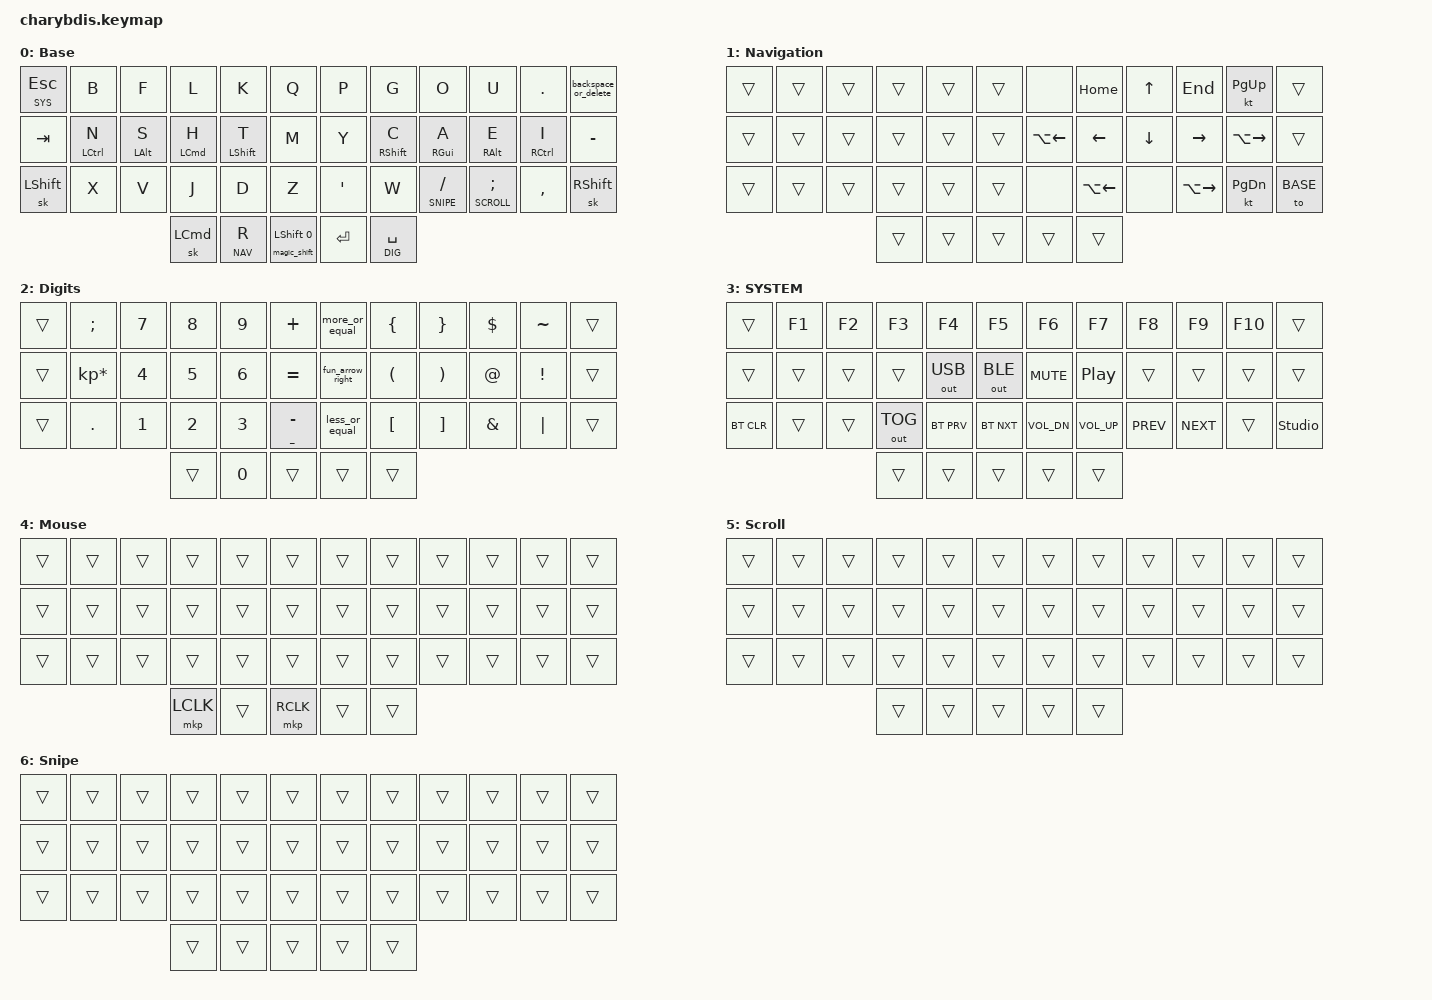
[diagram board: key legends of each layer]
#include <behaviors.dtsi>
#include <dt-bindings/zmk/bt.h>
#include <dt-bindings/zmk/keys.h>
#include <dt-bindings/zmk/mouse.h>
#include <dt-bindings/zmk/outputs.h>
#include <behaviors/mouse_keys.dtsi>
#include <dt-bindings/zmk/ext_power.h>
#include <input/processors.dtsi>
#include <dt-bindings/zmk/input_transform.h>
#include <zephyr/dt-bindings/input/input-event-codes.h>

#define QUICK_TAP_MS 175
#include "zmk-helpers/helper.h"
#include "zmk-helpers/key-labels/42.h"

#define KEYS_L 0 1 2 3 4 5 12 13 14 15 16 17 24 25 26 27 28 29 36 37 38 19 20 21 22  // Left-hand keys.
#define KEYS_R 6 7 8 9 10 11 18 19 20 21 22 23 30 31 32 33 34 35 39 40 16 15 14 13  // Right-hand keys.
#define THUMBS 36 37 38 39 40  // Thumb keys.

#define BASE 0
#define NAV  1
#define DIG  2
#define SYS  3
#define MOUSE  4
#define SCROLL 5
#define SNIPE 6

/* Left-hand HRMs. */
ZMK_HOLD_TAP(hm_left,
    flavor = "tap-preferred";
    tapping-term-ms = <400>;
    quick-tap-ms = <175>;
    require-prior-idle-ms = <150>;
    bindings = <&kp>, <&kp>;
    hold-trigger-key-positions = <KEYS_R THUMBS>;
    hold-trigger-on-release;
)

/* Right-hand HRMs. */
ZMK_HOLD_TAP(hm_right,
    flavor = "tap-preferred";
    tapping-term-ms = <400>;
    quick-tap-ms = <175>;
    require-prior-idle-ms = <150>;
    bindings = <&kp>, <&kp>;
    hold-trigger-key-positions = <KEYS_L THUMBS>;
    hold-trigger-on-release;
)

// Tap: repeat after alpha, else sticky-shift |
// Shift + tap/ double-tap: caps-word | Hold: shift.
#define MAGIC_SHIFT &magic_shift LSHFT 0
ZMK_HOLD_TAP(magic_shift, bindings = <&kp>, <&magic_shift_tap>;
             flavor = "balanced"; tapping-term-ms = <200>;
             quick-tap-ms = <QUICK_TAP_MS>;)
ZMK_MOD_MORPH(magic_shift_tap, bindings = <&shift_repeat>, <&caps_word>;
              mods = <(MOD_LSFT)>;)
ZMK_ADAPTIVE_KEY(
    shift_repeat, bindings = <&sk LSHFT>;
    repeat {
      trigger-keys = <A B C D E F G H I J K L M N O P Q R S T U V W X Y Z>;
      bindings = <&key_repeat>;
      max-prior-idle-ms = <1200>;
      strict-modifiers;
    };)

&sk {  // sticky-key config
    release-after-ms = <900>;  // release after 0.9s
    quick-release;             // no double capitalization when rolling keys
};

&sl {  // sticky-layer config
    ignore-modifiers;          // allow chording sticky mods & layers
};

&lt {  // layer-tap config
    flavor = "balanced";
    tapping-term-ms = <200>;
    quick-tap-ms = <QUICK_TAP_MS>;
};

&mt {  // mod-tap config
    flavor = "tap-preferred";
    tapping-term-ms = <200>;
    quick-tap-ms = <QUICK_TAP_MS>;
};

/ {

    behaviors {

        hm_right_layer: homerow_mod_right_layer {
            compatible = "zmk,behavior-hold-tap";
            #binding-cells = <2>;
            flavor = "tap-preferred";
            tapping-term-ms = <280>;
            quick-tap-ms = <200>;
            require-prior-idle-ms = <150>;
            bindings = <&mo>, <&kp>;

            hold-trigger-key-positions = <0 1 2 3 4 5 12 13 14 15 16 17 24 25 26 27 28 29 36 37 38 19 20 21 22 36 37 38 39 40>;
        };

        hm_left_layer: homerow_mod_left_layer {
            compatible = "zmk,behavior-hold-tap";
            #binding-cells = <2>;
            flavor = "tap-preferred";
            tapping-term-ms = <280>;
            quick-tap-ms = <200>;
            require-prior-idle-ms = <150>;
            bindings = <&mo>, <&kp>;

            hold-trigger-key-positions = <6 7 8 9 10 11 18 19 20 21 22 23 30 31 32 33 34 35 39 40 16 15 14 13 36 37 38 39 40>;
        };

        comment_or: comment_or {
            compatible = "zmk,behavior-hold-tap";
            label = "slash_or_comm";
            bindings = <&comment>, <&kp>;

            #binding-cells = <2>;
            tapping-term-ms = <200>;
            flavor = "tap-preferred";
        };

        all_quotes: all_quotes {
            compatible = "zmk,behavior-tap-dance";
            #binding-cells = <0>;
            tapping-term-ms = <200>;
            bindings = <&mt GRAVE SQT>, <&kp DOUBLE_QUOTES>;
        };

        backspace_or_delete: backspace_or_delete {
            compatible = "zmk,behavior-mod-morph";
            #binding-cells = <0>;
            bindings = <&kp BACKSPACE>, <&kp DELETE>;
            mods = <(MOD_LSFT|MOD_RSFT)>;
        };

    };

    // Type too fast to have combos on adjacent keys. 
    // (high roll = press next before current is let go)
    combos {
        compatible = "zmk,combos";
    };

    macros {
        /**
       * Temporarily switches to a layer (`&mo`) while a modifier is held.
       * Analogous to QMK's `LM()`, using a parameterized macro.
       *
       * Params:
       *  1. Layer to switch to
       *  2. Modifier to press while layer is active
       *
       * Example:
       *  `&lm NUM_LAYER LSHIFT`
       */

        lm: lm {
            compatible = "zmk,behavior-macro-two-param";
            wait-ms = <0>;
            tap-ms = <0>;
            #binding-cells = <2>;
            bindings =
                <&macro_param_1to1>,
                <&macro_press>,
                <&mo MACRO_PLACEHOLDER &macro_param_2to1>,
                <&macro_press>,
                <&kp MACRO_PLACEHOLDER>,
                <&macro_pause_for_release>,
                <&macro_param_2to1>,
                <&macro_release>,
                <&kp MACRO_PLACEHOLDER &macro_param_1to1>,
                <&macro_release>,
                <&mo MACRO_PLACEHOLDER>;
        };

        press_two_keys: press_two_keys {
            compatible = "zmk,behavior-macro-two-param";
            wait-ms = <0>;
            tap-ms = <0>;
            #binding-cells = <2>;
            bindings =
                <&macro_param_1to1>,
                <&macro_tap>,
                <&kp MACRO_PLACEHOLDER &macro_param_2to1>,
                <&macro_tap>,
                <&kp MACRO_PLACEHOLDER>;
        };

        super: super {
            compatible = "zmk,behavior-macro";
            #binding-cells = <0>;
            bindings =
                <&macro_press>,
                <&kp LGUI>,
                <&macro_press>,
                <&kp LALT>,
                <&macro_press>,
                <&kp LCTL>,
                <&macro_pause_for_release>,
                <&macro_release>,
                <&kp LGUI>,
                <&macro_release>,
                <&kp LALT>,
                <&macro_release>,
                <&kp LCTL>;
        };

        more_or_equal: more_or_equal {
            compatible = "zmk,behavior-macro";
            #binding-cells = <0>;
            bindings = <&kp MINUS &kp GT>;
            label = "MORE_OR_EQUAL";
        };

        less_or_equal: less_or_equal {
            compatible = "zmk,behavior-macro";
            #binding-cells = <0>;
            bindings = <&kp LT &kp EQUAL>;
            label = "LESS_OR_EQUAL";
        };

        fun_arrow_right: fun_arrow_right {
            compatible = "zmk,behavior-macro";
            #binding-cells = <0>;
            bindings = <&kp MINUS &kp GT>;
            label = "FUN_ARROW_RIGHT";
        };

        comment: comment {
            compatible = "zmk,behavior-macro";
            #binding-cells = <0>;
            bindings = <&kp FSLH &kp STAR>;
            label = "MACROS_COMMENT";
        };
    };

    /omit-if-no-ref/ zip_temp_layer: zip_temp_layer {
        compatible = "zmk,input-processor-temp-layer";
        #input-processor-cells = <2>;
        require-prior-idle-ms = <1000>;
    };

    /omit-if-no-ref/ vertical_scroll_mapper: vertical_scroll_mapper {
        compatible = "zmk,input-processor-code-mapper";
        #input-processor-cells = <0>;
        type = <INPUT_EV_REL>;
        map
            = <INPUT_REL_Y INPUT_REL_WHEEL>
            ;
    };



    trackball_listener {
        compatible = "zmk,input-listener";
        device = <&vtrackball>;
        // scaler: first is multiplier, second one is divider.
        // temp layer: first argument is layer, second is time in ms
        input-processors = <&zip_xy_scaler 1 6>, <&zip_temp_layer MOUSE 1000>;

        snipe {
            layers = <SNIPE>;
            input-processors = <&zip_xy_scaler 1 18>;
        };

        scroll {
            layers = <SCROLL>;
            // scaler: first is multiplier, second one is divider.
            input-processors = <&zip_y_scaler 1 9999>, <&zip_xy_to_scroll_mapper>, <&zip_scroll_scaler 1 72>;
        };
    };


/*                                      42 KEY MATRIX / LAYOUT MAPPING

  ╭────────────────────────┬────────────────────────╮ ╭─────────────────────────┬─────────────────────────╮
  │  0   1   2   3   4   5 │  6   7   8   9  10  11 │ │ LT5 LT4 LT3 LT2 LT1 LT0 │ RT0 RT1 RT2 RT3 RT4 RT5 │
  │ 12  13  14  15  16  17 │ 18  19  20  21  22  23 │ │ LM5 LM4 LM3 LM2 LM1 LM0 │ RM0 RM1 RM2 RM3 RM4 RM5 │
  │ 24  25  26  27  28  29 │ 30  31  32  33  34  35 │ │ LB5 LB4 LB3 LB2 LB1 LB0 │ RB0 RB1 RB2 RB3 RB4 RB5 │
  ╰───────────╮ 36  37  38 │ 39  40  41 ╭───────────╯ ╰───────────╮ LH2 LH1 LH0 │ RH0 RH1 RH2 ╭───────────╯
              ╰────────────┴────────────╯                         ╰─────────────┴─────────────╯             */

    keymap {
        compatible = "zmk,keymap";

        BASE {
            label = "Base";
            bindings = <
&lt SYS ESC  &kp B             &kp F                &kp L                    &kp K                &kp Q                 &kp P           &kp G                  &kp O                        &kp U                              &kp DOT                      &backspace_or_delete
&kp TAB      &hm_left LCTRL N  &hm_left LEFT_ALT S  &hm_left LEFT_COMMAND H  &hm_left LSHFT T     &kp M                 &kp Y           &hm_right RSHFT C      &hm_right RIGHT_GUI A        &hm_right RIGHT_ALT E              &hm_right RCTRL I            &kp MINUS
&sk LSHFT    &kp X             &kp V                &kp J                    &kp D                &kp Z                 &kp APOS        &kp W                  &hm_right_layer SNIPE SLASH  &hm_right_layer SCROLL SEMICOLON   &kp COMMA                    &sk RSHFT 
                                                    &sk LEFT_COMMAND         &lt NAV R            MAGIC_SHIFT           &kp RET         &lt DIG SPACE
            >;
        };

        Navigation {
            label = "Navigation";
            bindings = <
&trans  &trans  &trans  &trans  &trans                       &trans    &none         &kp HOME      &kp UP    &kp END        &kt PAGE_UP    &trans
&trans  &trans  &trans  &trans  &trans                       &trans    &kp LA(LEFT)  &kp LEFT      &kp DOWN  &kp RIGHT      &kp LA(RIGHT)  &trans
&trans  &trans  &trans  &trans  &trans                       &trans    &none         &kp LA(LEFT)  &none     &kp LA(RIGHT)  &kt PAGE_DOWN  &to BASE
                        &trans  &trans                       &trans    &trans        &trans
            >;
        };

        digits {
            label = "Digits";
            bindings = <
&trans  &kp SEMICOLON          &kp N7  &kp N8  &kp N9     &kp PLUS                &more_or_equal     &kp LEFT_BRACE           &kp RIGHT_BRACE        &kp DOLLAR     &kp TILDE        &trans
&trans  &kp KP_MULTIPLY        &kp N4  &kp N5  &kp N6     &kp EQUAL               &fun_arrow_right   &kp LEFT_PARENTHESIS     &kp RIGHT_PARENTHESIS  &kp AT_SIGN    &kp EXCLAMATION  &trans
&trans  &kp PERIOD             &kp N1  &kp N2  &kp N3     &mt UNDER MINUS         &less_or_equal     &kp LEFT_BRACKET         &kp RIGHT_BRACKET      &kp AMPERSAND  &kp PIPE         &trans
                                       &trans  &kp N0     &trans                  &trans             &trans
            >;
        };

        system {
            label = "SYSTEM";
            bindings = <
&trans      &kp F1  &kp F2  &kp F3        &kp F4        &kp F5          &kp F6        &kp F7        &kp F8      &kp F9      &kp F10  &trans
&trans      &trans  &trans  &trans        &out OUT_USB  &out OUT_BLE    &kp C_MUTE    &kp C_PP      &trans      &trans      &trans   &trans
&bt BT_CLR  &trans  &trans  &out OUT_TOG  &bt BT_PRV    &bt BT_NXT      &kp C_VOL_DN  &kp C_VOL_UP  &kp C_PREV  &kp C_NEXT  &trans   &studio_unlock
                            &trans        &trans        &trans          &trans        &trans
            >;
        };

        AUTO-MOUSE {
            label = "Mouse";
            bindings = <
&trans  &trans  &trans  &trans     &trans  &trans       &trans  &trans  &trans  &trans  &trans  &trans
&trans  &trans  &trans  &trans     &trans  &trans       &trans  &trans  &trans  &trans  &trans  &trans
&trans  &trans  &trans  &trans     &trans  &trans       &trans  &trans  &trans  &trans  &trans  &trans
                        &mkp LCLK  &trans  &mkp RCLK    &trans  &trans
            >;
        };

        SCROLL {
            label = "Scroll";
            bindings = <
&trans  &trans  &trans  &trans  &trans  &trans    &trans  &trans  &trans  &trans  &trans  &trans
&trans  &trans  &trans  &trans  &trans  &trans    &trans  &trans  &trans  &trans  &trans  &trans
&trans  &trans  &trans  &trans  &trans  &trans    &trans  &trans  &trans  &trans  &trans  &trans
                        &trans  &trans  &trans    &trans  &trans
            >;
        };

        SNIPE {
            label = "Snipe";
            bindings = <
&trans  &trans  &trans  &trans  &trans  &trans    &trans  &trans  &trans  &trans  &trans  &trans
&trans  &trans  &trans  &trans  &trans  &trans    &trans  &trans  &trans  &trans  &trans  &trans
&trans  &trans  &trans  &trans  &trans  &trans    &trans  &trans  &trans  &trans  &trans  &trans
                        &trans  &trans  &trans    &trans  &trans
            >;
        };
    };

};

